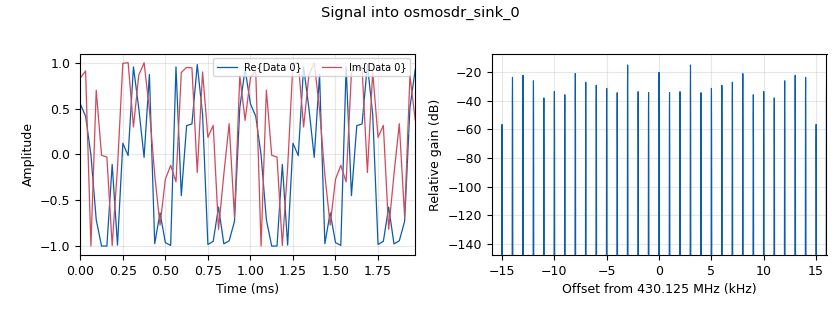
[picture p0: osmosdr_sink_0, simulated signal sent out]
<?xml version='1.0' encoding='utf-8'?>
<?grc format='1' created='3.7.5'?>
<flow_graph>
<block>
<key>options</key>
<param><key>id</key><value>top_block</value></param>
<param><key>generate_options</key><value>wx_gui</value></param>
<param><key>category</key><value>Custom</value></param>
</block>
<block>
<key>variable</key>
<param><key>id</key><value>samp_rate</value></param>
<param><key>value</key><value>32000</value></param>
</block>
<block>
<key>analog_nbfm_tx</key>
<param><key>id</key><value>analog_nbfm_tx_0</value></param>
<param><key>audio_rate</key><value>samp_rate</value></param>
<param><key>quad_rate</key><value>samp_rate</value></param>
<param><key>tau</key><value>75e-6</value></param>
<param><key>max_dev</key><value>5e3</value></param>
</block>
<block>
<key>analog_sig_source_x</key>
<param><key>id</key><value>analog_sig_source_x_0</value></param>
<param><key>type</key><value>float</value></param>
<param><key>samp_rate</key><value>samp_rate</value></param>
<param><key>waveform</key><value>analog.GR_SIN_WAVE</value></param>
<param><key>freq</key><value>1000</value></param>
<param><key>amp</key><value>100</value></param>
<param><key>offset</key><value>0</value></param>
</block>
<block>
<key>osmosdr_sink</key>
<param><key>id</key><value>osmosdr_sink_0</value></param>
<param><key>type</key><value>fc32</value></param>
<param><key>args</key><value></value></param>
<param><key>sync</key><value></value></param>
<param><key>sample_rate</key><value>samp_rate</value></param>
<param><key>freq0</key><value>430.125e6</value></param>
<param><key>gain0</key><value>10</value></param>
<param><key>if_gain0</key><value>20</value></param>
<param><key>bb_gain0</key><value>20</value></param>
</block>
<connection><source_block_id>analog_nbfm_tx_0</source_block_id><sink_block_id>osmosdr_sink_0</sink_block_id><source_key>0</source_key><sink_key>0</sink_key></connection>
<connection><source_block_id>analog_sig_source_x_0</source_block_id><sink_block_id>analog_nbfm_tx_0</sink_block_id><source_key>0</source_key><sink_key>0</sink_key></connection>
</flow_graph>
